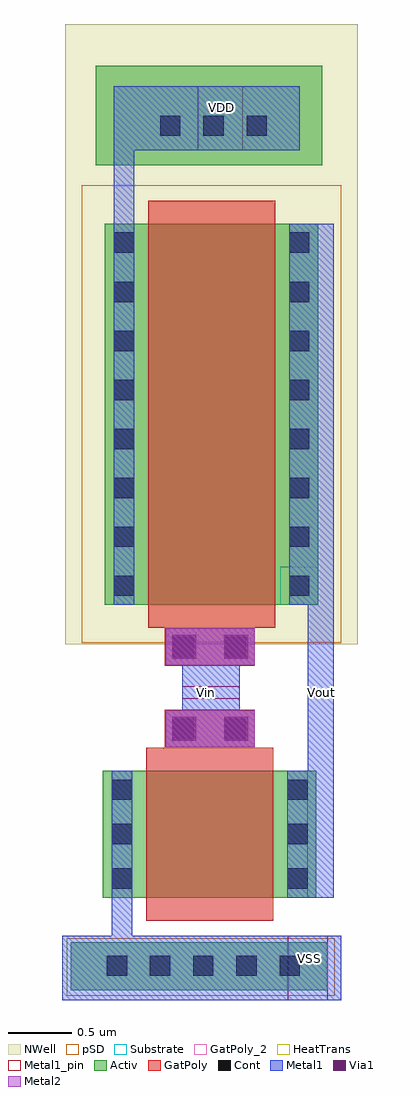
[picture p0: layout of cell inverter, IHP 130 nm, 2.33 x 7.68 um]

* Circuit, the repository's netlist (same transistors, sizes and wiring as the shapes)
* Extracted by KLayout with SG13G2 LVS runset on : 10/11/2025 12:09

.SUBCKT inverter
M$1 \$1 \$3 \$2 \$1 sg13_lv_nmos L=1u W=1u AS=0.34p AD=0.34p PS=2.68u PD=2.68u
M$2 \$4 \$3 \$2 \$4 sg13_lv_pmos L=1u W=3u AS=1.02p AD=1.02p PS=6.68u PD=6.68u
.ENDS inverter

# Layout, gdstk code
import gdstk
lib = gdstk.Library(unit=1e-6, precision=1e-09)
def R(c, l, rs):  # rectangles x0, y0, x1, y1
    for r in rs: c.add(gdstk.rectangle(r[:2], r[2:], *l))
def A(c, l, x, y, w, h, nx, ny, dx, dy):  # array of equal rectangles
    R(c, l, [(x+i*dx, y+j*dy, x+i*dx+w, y+j*dy+h) for i in range(nx) for j in range(ny)])
Activ = (1, 0)
GatPoly = (5, 0)
GatPoly_2 = (5, 2)
Cont = (6, 0)
Metal1 = (8, 0)
Metal1_pin = (8, 2)
Metal2 = (10, 0)
pSD = (14, 0)
Via1 = (19, 0)
NWell = (31, 0)
Substrate = (40, 0)
HeatTrans = (51, 0)

pmos = lib.new_cell('pmos')
R(pmos, Activ, [(0,0,0.3,0.3), (0,0,1.68,3), (1.38,0,1.68,0.3)])
R(pmos, GatPoly, [(0.34,-0.18,1.34,3.18), (0.34,-0.18,1.34,3.18)])
A(pmos, Cont, 0.07, 0.07, 0.16, 0.16, 1, 7, 0, 0.385)
A(pmos, Cont, 1.45, 0.07, 0.16, 0.16, 1, 7, 0, 0.385)
R(pmos, Cont, [(0.07,2.77,0.23,2.93), (1.45,2.77,1.61,2.93)])
R(pmos, Metal1, [(0.07,0,0.23,3), (0.07,0,0.23,3), (1.45,0,1.61,3), (1.45,0,1.61,3)])
R(pmos, pSD, [(-0.18,-0.3,1.86,3.3)])
R(pmos, NWell, [(-0.31,-0.31,1.99,3.31)])
R(pmos, Substrate, [(1.38,0,1.68,0.3)])
R(pmos, HeatTrans, [(0.34,-0.18,1.34,3.18)])
pmos.add(gdstk.Label('pmos', (0.84,1.5), layer=63, texttype=0))
pmos.add(gdstk.Label('pmos', (0.84,1.5), layer=51, texttype=0))

nmos_1 = lib.new_cell('nmos$1')
R(nmos_1, Activ, [(0,0,0.3,0.3), (0,0,1.68,1), (1.38,0,1.68,0.3)])
R(nmos_1, GatPoly, [(0.34,-0.18,1.34,1.18)])
R(nmos_1, GatPoly_2, [(0.34,-0.18,1.34,1.18)])
A(nmos_1, Cont, 0.07, 0.07, 0.16, 0.16, 1, 3, 0, 0.35)
A(nmos_1, Cont, 1.45, 0.07, 0.16, 0.16, 1, 3, 0, 0.35)
R(nmos_1, Metal1, [(0.07,0,0.23,1), (1.45,0,1.61,1)])
R(nmos_1, Metal1_pin, [(0.07,0,0.23,1), (1.45,0,1.61,1)])
R(nmos_1, HeatTrans, [(0.34,-0.18,1.34,1.18)])
nmos_1.add(gdstk.Label('nmos', (0.84,0.5), layer=63, texttype=0))
nmos_1.add(gdstk.Label('nmos', (0.84,0.5), layer=51, texttype=0))

inverter = lib.new_cell('inverter')
R(inverter, Activ, [(-0.27,-3.035,1.75,-2.655), (-0.07,3.46,1.71,4.24)])
R(inverter, GatPoly, [(0.47,-1.125,1.18,-0.825), (0.47,-1.125,1.18,-0.825), (0.47,-0.48,1.18,-0.18), (0.47,-0.48,1.18,-0.18)])
A(inverter, Cont, 0.015, -2.92, 0.16, 0.16, 5, 1, 0.34, 0)
A(inverter, Cont, 0.435, 3.69, 0.16, 0.16, 3, 1, 0.34, 0)
R(inverter, Cont, [(1.375,-2.92,1.535,-2.76), (0.54,-1.055,0.7,-0.895), (0.54,-1.055,0.7,-0.895), (0.95,-1.055,1.11,-0.895), (0.54,-0.41,0.7,-0.25), (0.54,-0.41,0.7,-0.25), (0.95,-0.41,1.11,-0.25)])
R(inverter, Metal1, [(-0.335,-3.11,1.86,-2.605), (0.055,-2.61,0.215,-2.305), (1.595,-2.305,1.8,3), (0.48,-1.12,1.18,-0.83), (0.48,-1.12,1.18,-0.83), (0.48,-1.12,1.18,-0.83), (0.48,-1.12,1.18,-0.83), (0.48,-1.12,1.18,-0.83), (0.48,-1.12,1.18,-0.83), (0.61,-0.975,1.06,-0.39), (0.48,-0.475,1.18,-0.185), (0.48,-0.475,1.18,-0.185), (0.48,-0.475,1.18,-0.185), (0.48,-0.475,1.18,-0.185), (0.48,-0.475,1.18,-0.185), (0.48,-0.475,1.18,-0.185), (0.07,3,0.23,4.08), (0.085,3.575,1.535,4.08)])
R(inverter, Metal1_pin, [(1.44,-3.11,1.755,-2.605), (0.61,-0.74,1.06,-0.64), (1.595,-0.725,1.8,-0.665), (0.73,3.575,1.085,4.08)])
R(inverter, Metal2, [(0.48,-1.12,1.18,-0.83), (0.48,-1.12,1.18,-0.83), (0.48,-1.12,1.18,-0.83), (0.48,-1.12,1.18,-0.83), (0.48,-1.12,1.18,-0.83), (0.48,-1.12,1.18,-0.83), (0.48,-0.475,1.18,-0.185), (0.48,-0.475,1.18,-0.185), (0.48,-0.475,1.18,-0.185), (0.48,-0.475,1.18,-0.185), (0.48,-0.475,1.18,-0.185), (0.48,-0.475,1.18,-0.185)])
R(inverter, pSD, [(-0.3,-3.075,1.81,-2.625)])
R(inverter, Via1, [(0.53,-1.07,0.72,-0.88), (0.53,-1.07,0.72,-0.88), (0.53,-1.07,0.72,-0.88), (0.53,-1.07,0.72,-0.88), (0.53,-1.07,0.72,-0.88), (0.53,-1.07,0.72,-0.88), (0.94,-1.07,1.13,-0.88), (0.94,-1.07,1.13,-0.88), (0.94,-1.07,1.13,-0.88), (0.94,-1.07,1.13,-0.88), (0.94,-1.07,1.13,-0.88), (0.94,-1.07,1.13,-0.88), (0.53,-0.425,0.72,-0.235), (0.53,-0.425,0.72,-0.235), (0.53,-0.425,0.72,-0.235), (0.53,-0.425,0.72,-0.235), (0.53,-0.425,0.72,-0.235), (0.53,-0.425,0.72,-0.235), (0.94,-0.425,1.13,-0.235), (0.94,-0.425,1.13,-0.235), (0.94,-0.425,1.13,-0.235), (0.94,-0.425,1.13,-0.235), (0.94,-0.425,1.13,-0.235), (0.94,-0.425,1.13,-0.235)])
R(inverter, NWell, [(-0.31,3.31,1.99,4.57)])
inverter.add(gdstk.Reference(pmos, (0,0)))
inverter.add(gdstk.Reference(nmos_1, (-0.015,-2.305)))
inverter.add(gdstk.Label('VDD', (0.92,3.915), layer=8, texttype=2))
inverter.add(gdstk.Label('VSS', (1.61,-2.78), layer=8, texttype=2))
inverter.add(gdstk.Label('Vin', (0.8,-0.69), layer=8, texttype=2))
inverter.add(gdstk.Label('Vout', (1.705,-0.69), layer=8, texttype=2))

lib.write_gds('inverter.gds')
